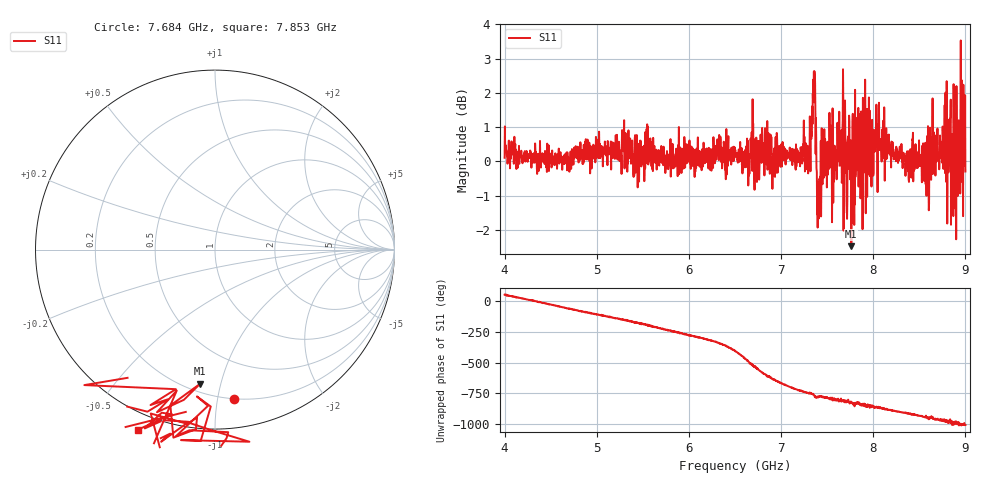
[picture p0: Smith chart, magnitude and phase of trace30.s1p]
! Created with skrf 1.8.0 (http://scikit-rf.org).
# Hz S RI R 50.0
!freq ReS11 ImS11
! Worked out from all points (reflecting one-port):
!   1601 points, 4 GHz to 9 GHz, reference 50 ohm
!   lowest |S11| = -2.5 dB at 7.762 GHz (marker M1), VSWR 7.06, Z = 12.6 - j43.2 ohm
!   phase of S11 starts at 50 deg and turns -1056 deg over the sweep
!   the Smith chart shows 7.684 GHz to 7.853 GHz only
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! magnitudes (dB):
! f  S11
! 4 GHz  0.1
! 4.625 GHz  -0.2
! 5.25 GHz  0.1
! 5.875 GHz  0.0
! 6.5 GHz  0.3
! 7.125 GHz  0.3
! 7.294 GHz  -0.4
! 7.347 GHz  1.7
! 7.362 GHz  2.6
! 7.397 GHz  -1.9
! 7.412 GHz  -0.8
! 7.466 GHz  -0.1
! 7.578 GHz  0.4
! 7.65 GHz  0.3
! 7.75 GHz  -0.5
! 7.762 GHz  -2.5
! 7.784 GHz  -0.2
! 7.828 GHz  0.9
! 7.875 GHz  -0.4
! 7.928 GHz  0.3
! 7.981 GHz  -0.7
! 8.05 GHz  1.1
! 8.375 GHz  -0.1
! 8.581 GHz  -0.2
! 8.775 GHz  1.6
! 8.869 GHz  -1.6
! 8.972 GHz  0.4
! 9 GHz  -0.3
